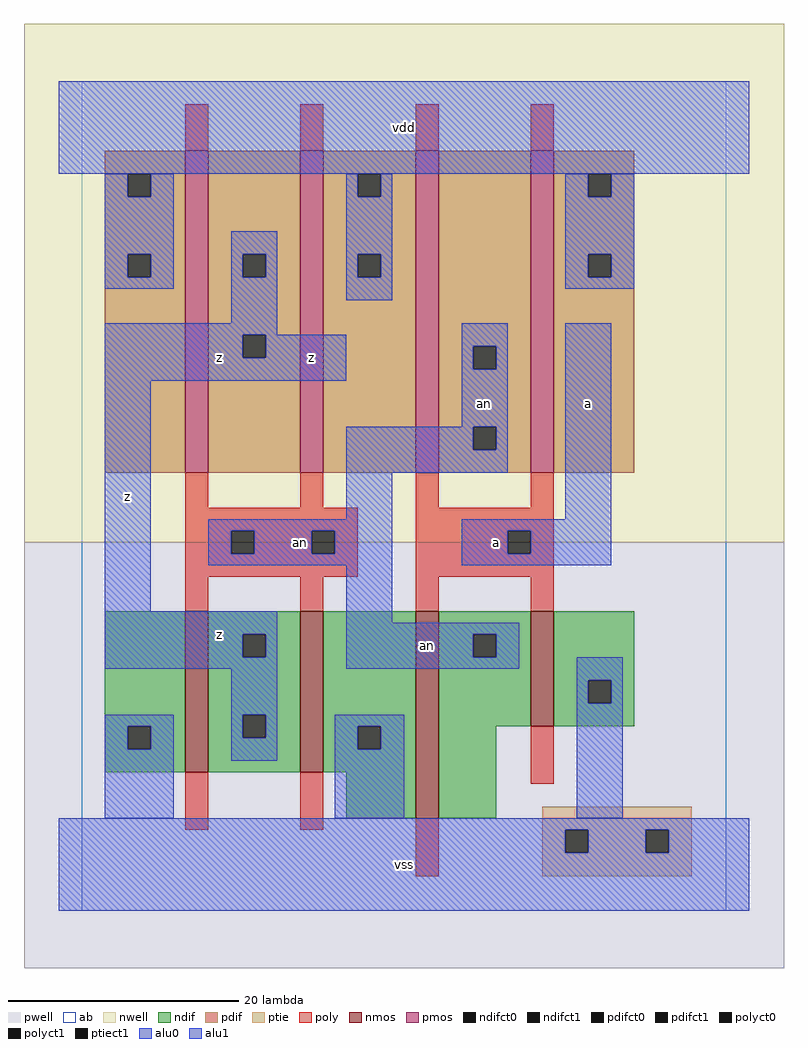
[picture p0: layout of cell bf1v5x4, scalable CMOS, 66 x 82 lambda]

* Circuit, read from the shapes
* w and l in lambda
.subckt bf1v5x4 a an vdd vss z
M1 z an vss vss nfet w=14 l=2 m=2
M2 an a vss vss nfet w=18 l=2
M3 vss a an vss nfet w=10 l=2
M4 z an vdd n1 pfet w=28 l=2 m=2
M5 an a vdd n1 pfet w=28 l=2 m=2
.ends

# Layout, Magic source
magic
tech scmos
<< ab >>
rect 0 0 56 72
<< nwell >>
rect -5 32 61 77
<< pwell >>
rect -5 -5 61 32
<< poly >>
rect 9 66 11 70
rect 19 66 21 70
rect 29 66 31 70
rect 39 66 41 70
rect 9 35 11 38
rect 19 35 21 38
rect 29 35 31 38
rect 39 35 41 38
rect 9 33 24 35
rect 9 31 13 33
rect 15 31 20 33
rect 22 31 24 33
rect 9 29 24 31
rect 29 33 41 35
rect 29 31 37 33
rect 39 31 41 33
rect 29 29 41 31
rect 9 26 11 29
rect 19 26 21 29
rect 29 26 31 29
rect 39 26 41 29
rect 9 7 11 12
rect 19 7 21 12
rect 39 11 41 16
rect 29 3 31 8
<< ndif >>
rect 2 16 9 26
rect 2 14 4 16
rect 6 14 9 16
rect 2 12 9 14
rect 11 24 19 26
rect 11 22 14 24
rect 16 22 19 24
rect 11 17 19 22
rect 11 15 14 17
rect 16 15 19 17
rect 11 12 19 15
rect 21 16 29 26
rect 21 14 24 16
rect 26 14 29 16
rect 21 12 29 14
rect 23 8 29 12
rect 31 24 39 26
rect 31 22 34 24
rect 36 22 39 24
rect 31 16 39 22
rect 41 20 48 26
rect 41 18 44 20
rect 46 18 48 20
rect 41 16 48 18
rect 31 8 36 16
<< pdif >>
rect 2 64 9 66
rect 2 62 4 64
rect 6 62 9 64
rect 2 57 9 62
rect 2 55 4 57
rect 6 55 9 57
rect 2 38 9 55
rect 11 57 19 66
rect 11 55 14 57
rect 16 55 19 57
rect 11 50 19 55
rect 11 48 14 50
rect 16 48 19 50
rect 11 38 19 48
rect 21 64 29 66
rect 21 62 24 64
rect 26 62 29 64
rect 21 57 29 62
rect 21 55 24 57
rect 26 55 29 57
rect 21 38 29 55
rect 31 49 39 66
rect 31 47 34 49
rect 36 47 39 49
rect 31 42 39 47
rect 31 40 34 42
rect 36 40 39 42
rect 31 38 39 40
rect 41 64 48 66
rect 41 62 44 64
rect 46 62 48 64
rect 41 57 48 62
rect 41 55 44 57
rect 46 55 48 57
rect 41 38 48 55
<< alu1 >>
rect -2 64 58 72
rect 13 57 17 59
rect 13 55 14 57
rect 16 55 17 57
rect 13 51 17 55
rect 2 50 17 51
rect 2 48 14 50
rect 16 48 23 50
rect 2 46 23 48
rect 2 26 6 46
rect 42 34 46 51
rect 33 33 46 34
rect 33 31 37 33
rect 39 31 46 33
rect 33 30 46 31
rect 2 24 17 26
rect 2 22 14 24
rect 16 22 17 24
rect 2 21 17 22
rect 13 17 17 21
rect 13 15 14 17
rect 16 15 17 17
rect 13 13 17 15
rect -2 7 58 8
rect -2 5 42 7
rect 44 5 49 7
rect 51 5 58 7
rect -2 0 58 5
<< ptie >>
rect 40 7 53 9
rect 40 5 42 7
rect 44 5 49 7
rect 51 5 53 7
rect 40 3 53 5
<< nmos >>
rect 9 12 11 26
rect 19 12 21 26
rect 29 8 31 26
rect 39 16 41 26
<< pmos >>
rect 9 38 11 66
rect 19 38 21 66
rect 29 38 31 66
rect 39 38 41 66
<< polyct0 >>
rect 13 31 15 33
rect 20 31 22 33
<< polyct1 >>
rect 37 31 39 33
<< ndifct0 >>
rect 4 14 6 16
rect 24 14 26 16
rect 34 22 36 24
rect 44 18 46 20
<< ndifct1 >>
rect 14 22 16 24
rect 14 15 16 17
<< ptiect1 >>
rect 42 5 44 7
rect 49 5 51 7
<< pdifct0 >>
rect 4 62 6 64
rect 4 55 6 57
rect 24 62 26 64
rect 24 55 26 57
rect 34 47 36 49
rect 34 40 36 42
rect 44 62 46 64
rect 44 55 46 57
<< pdifct1 >>
rect 14 55 16 57
rect 14 48 16 50
<< alu0 >>
rect 2 62 4 64
rect 6 62 8 64
rect 2 57 8 62
rect 23 62 24 64
rect 26 62 27 64
rect 2 55 4 57
rect 6 55 8 57
rect 2 54 8 55
rect 23 57 27 62
rect 23 55 24 57
rect 26 55 27 57
rect 23 53 27 55
rect 42 62 44 64
rect 46 62 48 64
rect 42 57 48 62
rect 42 55 44 57
rect 46 55 48 57
rect 42 54 48 55
rect 33 49 37 51
rect 33 47 34 49
rect 36 47 37 49
rect 33 42 37 47
rect 23 40 34 42
rect 36 40 37 42
rect 23 38 37 40
rect 23 34 27 38
rect 11 33 27 34
rect 11 31 13 33
rect 15 31 20 33
rect 22 31 27 33
rect 11 30 27 31
rect 23 25 27 30
rect 23 24 38 25
rect 23 22 34 24
rect 36 22 38 24
rect 23 21 38 22
rect 43 20 47 22
rect 43 18 44 20
rect 46 18 47 20
rect 2 16 8 17
rect 2 14 4 16
rect 6 14 8 16
rect 2 8 8 14
rect 22 16 28 17
rect 22 14 24 16
rect 26 14 28 16
rect 22 8 28 14
rect 43 8 47 18
<< labels >>
rlabel alu0 19 32 19 32 6 an
rlabel alu0 30 23 30 23 6 an
rlabel alu0 35 44 35 44 6 an
rlabel alu1 4 36 4 36 6 z
rlabel alu1 12 24 12 24 6 z
rlabel alu1 12 48 12 48 6 z
rlabel alu1 20 48 20 48 6 z
rlabel alu1 28 4 28 4 6 vss
rlabel alu1 36 32 36 32 6 a
rlabel alu1 28 68 28 68 6 vdd
rlabel alu1 44 44 44 44 6 a
<< end >>
